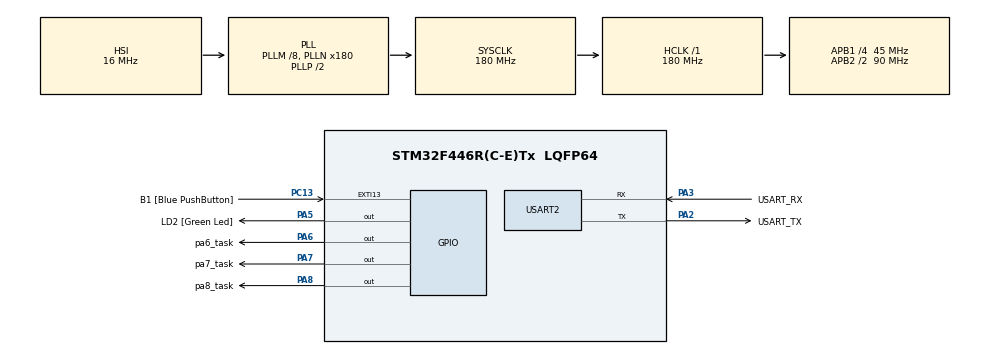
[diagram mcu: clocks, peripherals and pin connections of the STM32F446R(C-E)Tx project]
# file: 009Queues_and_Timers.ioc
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Mcu.Family=STM32F4
Mcu.Name=STM32F446R(C-E)Tx
Mcu.Package=LQFP64
NVIC.PriorityGroup=NVIC_PRIORITYGROUP_4
NVIC.TIM6_DAC_IRQn=true\:0\:0\:false\:false\:true\:false\:true\:true
NVIC.TimeBase=TIM6_DAC_IRQn
NVIC.TimeBaseIP=TIM6
NVIC.USART2_IRQn=true\:6\:0\:true\:false\:true\:true\:true\:true
PA13.GPIO_Label=TMS
PA13.Signal=SYS_JTMS-SWDIO
PA14.GPIO_Label=TCK
PA14.Signal=SYS_JTCK-SWCLK
PA2.GPIO_Label=USART_TX
PA2.Mode=Asynchronous
PA2.Signal=USART2_TX
PA3.GPIO_Label=USART_RX
PA3.Mode=Asynchronous
PA3.Signal=USART2_RX
PA5.GPIO_Label=LD2 [Green Led]
PA5.Signal=GPIO_Output
PA6.GPIO_Label=pa6_task
PA6.Signal=GPIO_Output
PA7.GPIO_Label=pa7_task
PA7.Signal=GPIO_Output
PA8.GPIO_Label=pa8_task
PA8.Signal=GPIO_Output
PB3.GPIO_Label=SWO
PB3.Signal=SYS_JTDO-SWO
PC13.GPIO_Label=B1 [Blue PushButton]
PC13.GPIO_ModeDefaultEXTI=GPIO_MODE_IT_FALLING
PC13.Signal=GPXTI13
PC14-OSC32_IN.Signal=RCC_OSC32_IN
PC15-OSC32_OUT.Signal=RCC_OSC32_OUT
PH0-OSC_IN.Signal=RCC_OSC_IN
PH1-OSC_OUT.Signal=RCC_OSC_OUT
ProjectManager.HeapSize=0x200
ProjectManager.StackSize=0x400
ProjectManager.TargetToolchain=STM32CubeIDE
RCC.AHBFreq_Value=180000000
RCC.APB1CLKDivider=RCC_HCLK_DIV4
RCC.APB1Freq_Value=45000000
RCC.APB1TimFreq_Value=90000000
RCC.APB2CLKDivider=RCC_HCLK_DIV2
RCC.APB2Freq_Value=90000000
RCC.APB2TimFreq_Value=180000000
RCC.CortexFreq_Value=180000000
RCC.FLatency-AdvancedSettings=FLASH_LATENCY_5
RCC.HCLKFreq_Value=180000000
RCC.HSE_VALUE=8000000
RCC.HSI_VALUE=16000000
RCC.LSE_VALUE=32768
RCC.PLLM=8
RCC.PLLN=180
RCC.SYSCLKFreq_VALUE=180000000
RCC.SYSCLKSource=RCC_SYSCLKSOURCE_PLLCLK
RCC.USBFreq_Value=180000000
RCC.VCOOutputFreq_Value=360000000
RTC.HourFormat=RTC_HOURFORMAT_12
USART2.VirtualMode=VM_ASYNC
VP_RTC_VS_RTC_Activate.Mode=RTC_Enabled
VP_SYS_VS_tim6.Mode=TIM6
board=NUCLEO-F446RE

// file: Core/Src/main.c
/* USER CODE BEGIN Header */
/**
  ******************************************************************************
  * @file           : main.c
  * @brief          : Main program body
  ******************************************************************************
  * @attention
  *
  * Copyright (c) 2025 STMicroelectronics.
  * All rights reserved.
  *
  * This software is licensed under terms that can be found in the LICENSE file
  * in the root directory of this software component.
  * If no LICENSE file comes with this software, it is provided AS-IS.
  *
  ******************************************************************************
  */
/* USER CODE END Header */
#include "main.h"

/* USER CODE BEGIN PD */
#define DWT_CTRL_REG 		(*(volatile uint32_t *)0xE0001000)
/* USER CODE END PD */

/* USER CODE BEGIN PM */
#define PRINT_QUE_ITEM_SIZE				4
#define PRINT_QUE_LEN					10

#define CMD_QUE_ITEM_SIZE				4
#define CMD_QUE_LEN						10

/* USER CODE END PM */

RTC_HandleTypeDef hrtc;

UART_HandleTypeDef huart2;

/* USER CODE BEGIN PV */
TaskHandle_t menu_Handle, led_Handle, printTask_Handle, rtc_Handle, commandTask_Handle;
QueueHandle_t  printQue_Handle, commandQue_Handle;
TimerHandle_t  ledEffectTimer_Handle[4];

TimerHandle_t rtc_timer;

state_t current_task_state = sMainMenu;

volatile uint8_t cmd_data;
/* USER CODE END PV */

void SystemClock_Config(void);
static void MX_GPIO_Init(void);
static void MX_RTC_Init(void);
static void MX_USART2_UART_Init(void);
/* USER CODE BEGIN PFP */

void HAL_UART_RxCpltCallback(UART_HandleTypeDef *huart);
extern  void SEGGER_UART_init(uint32_t);

void led_effect_callback(TimerHandle_t  xTimer);
void rtc_report_callback( TimerHandle_t xTimer );
/* USER CODE END PFP */

int main(void)
{

  /* USER CODE BEGIN 1 */
	BaseType_t status;

  /* USER CODE END 1 */

  /* MCU Configuration--------------------------------------------------------*/

  /* Reset of all peripherals, Initializes the Flash interface and the Systick. */
  HAL_Init();

  /* Configure the system clock */
  SystemClock_Config();

  /* Initialize all configured peripherals */
  MX_GPIO_Init();
  MX_RTC_Init();
  MX_USART2_UART_Init();
  /* USER CODE BEGIN 2 */
  //Enable the Data watch
  DWT_CTRL_REG |= (1 << 0);

  /*Enable Segger uart continuous record*/
  //SEGGER_UART_init(500000);

  /* Enable Segger and call */
  //SEGGER_SYSVIEW_Conf();
  //SEGGER_SYSVIEW_Start();

  status = xTaskCreate(menuTask_Handler, "Menu_Task", 200, NULL, 2, &menu_Handle);
  configASSERT(status == pdPASS);

  status = xTaskCreate(ledTask_Handler, "LED_Task", 200, NULL, 2, &led_Handle);
  configASSERT(status == pdPASS);

  status = xTaskCreate(rtcTask_Handler, "RTC_Task", 200, NULL, 2, &rtc_Handle);
  configASSERT(status == pdPASS);

  status = xTaskCreate(printTask_Handler, "Print_Task", 200, NULL, 2, &printTask_Handle);
  configASSERT(status == pdPASS);

  status = xTaskCreate(commandTask_Handler, "RTC_Task", 200, NULL, 2, &commandTask_Handle);
  configASSERT(status == pdPASS);

  /* size_t is pointer size 4 bytes  -> long unsigned int defined in stddef.h*/
  printQue_Handle = xQueueCreate(PRINT_QUE_LEN, sizeof(size_t));
  configASSERT(printQue_Handle != NULL);

  commandQue_Handle = xQueueCreate(CMD_QUE_LEN, sizeof(char));
  configASSERT(commandQue_Handle != NULL);

  /* create software timers for led effect */
  for(int i=0; i<4; i++){
	  ledEffectTimer_Handle[i] = xTimerCreate("led-timer", pdMS_TO_TICKS(500),  pdTRUE, (void *)(i+1), led_effect_callback);
  }
  rtc_timer = xTimerCreate ("rtc_report_timer",pdMS_TO_TICKS(1000),pdTRUE,NULL,rtc_report_callback);

  /* Enable UART2 Rx Interrrupt */
  HAL_UART_Receive_IT(&huart2, (uint8_t *)&cmd_data, 1);

  /* start the freertos scheduler */
  vTaskStartScheduler();

  /* if control comes here means there is not enough heap memory to launch the scheduler */

  /* USER CODE END 2 */

  /* Infinite loop */
  while (1)
  {

  }
}

void SystemClock_Config(void)
{
  RCC_OscInitTypeDef RCC_OscInitStruct = {0};
  RCC_ClkInitTypeDef RCC_ClkInitStruct = {0};

  /** Configure the main internal regulator output voltage
  */
  __HAL_RCC_PWR_CLK_ENABLE();
  __HAL_PWR_VOLTAGESCALING_CONFIG(PWR_REGULATOR_VOLTAGE_SCALE1);

  /** Initializes the RCC Oscillators according to the specified parameters
  * in the RCC_OscInitTypeDef structure.
  */
  RCC_OscInitStruct.OscillatorType = RCC_OSCILLATORTYPE_HSI|RCC_OSCILLATORTYPE_LSI;
  RCC_OscInitStruct.LSEState = RCC_LSE_OFF;
  RCC_OscInitStruct.HSIState = RCC_HSI_ON;
  RCC_OscInitStruct.HSICalibrationValue = RCC_HSICALIBRATION_DEFAULT;
  RCC_OscInitStruct.LSIState = RCC_LSI_ON;
  RCC_OscInitStruct.PLL.PLLState = RCC_PLL_ON;
  RCC_OscInitStruct.PLL.PLLSource = RCC_PLLSOURCE_HSI;
  RCC_OscInitStruct.PLL.PLLM = 8;
  RCC_OscInitStruct.PLL.PLLN = 180;
  RCC_OscInitStruct.PLL.PLLP = RCC_PLLP_DIV2;
  RCC_OscInitStruct.PLL.PLLQ = 2;
  RCC_OscInitStruct.PLL.PLLR = 2;
  if (HAL_RCC_OscConfig(&RCC_OscInitStruct) != HAL_OK)
  {
    Error_Handler();
  }

  /** Activate the Over-Drive mode
  */
  if (HAL_PWREx_EnableOverDrive() != HAL_OK)
  {
    Error_Handler();
  }

  /** Initializes the CPU, AHB and APB buses clocks
  */
  RCC_ClkInitStruct.ClockType = RCC_CLOCKTYPE_HCLK|RCC_CLOCKTYPE_SYSCLK
                              |RCC_CLOCKTYPE_PCLK1|RCC_CLOCKTYPE_PCLK2;
  RCC_ClkInitStruct.SYSCLKSource = RCC_SYSCLKSOURCE_PLLCLK;
  RCC_ClkInitStruct.AHBCLKDivider = RCC_SYSCLK_DIV1;
  RCC_ClkInitStruct.APB1CLKDivider = RCC_HCLK_DIV4;
  RCC_ClkInitStruct.APB2CLKDivider = RCC_HCLK_DIV2;

  if (HAL_RCC_ClockConfig(&RCC_ClkInitStruct, FLASH_LATENCY_5) != HAL_OK)
  {
    Error_Handler();
  }
}

static void MX_RTC_Init(void)
{

  /** Initialize RTC Only
  */
  hrtc.Instance = RTC;
  hrtc.Init.HourFormat = RTC_HOURFORMAT_12;
  hrtc.Init.AsynchPrediv = 127;
  hrtc.Init.SynchPrediv = 255;
  hrtc.Init.OutPut = RTC_OUTPUT_DISABLE;
  hrtc.Init.OutPutPolarity = RTC_OUTPUT_POLARITY_HIGH;
  hrtc.Init.OutPutType = RTC_OUTPUT_TYPE_OPENDRAIN;
  if (HAL_RTC_Init(&hrtc) != HAL_OK)
  {
    Error_Handler();
  }

}

static void MX_USART2_UART_Init(void)
{

  huart2.Instance = USART2;
  huart2.Init.BaudRate = 115200;
  huart2.Init.WordLength = UART_WORDLENGTH_8B;
  huart2.Init.StopBits = UART_STOPBITS_1;
  huart2.Init.Parity = UART_PARITY_NONE;
  huart2.Init.Mode = UART_MODE_TX_RX;
  huart2.Init.HwFlowCtl = UART_HWCONTROL_NONE;
  huart2.Init.OverSampling = UART_OVERSAMPLING_16;
  if (HAL_UART_Init(&huart2) != HAL_OK)
  {
    Error_Handler();
  }

}

static void MX_GPIO_Init(void)
{
  GPIO_InitTypeDef GPIO_InitStruct = {0};
  /* USER CODE BEGIN MX_GPIO_Init_1 */
  //GPIO_InitTypeDef GPIO_InitTask = {0};
  /* USER CODE END MX_GPIO_Init_1 */

  /* GPIO Ports Clock Enable */
  __HAL_RCC_GPIOC_CLK_ENABLE();
  __HAL_RCC_GPIOH_CLK_ENABLE();
  __HAL_RCC_GPIOA_CLK_ENABLE();
  __HAL_RCC_GPIOB_CLK_ENABLE();

  /*Configure GPIO pin Output Level */
  HAL_GPIO_WritePin(GPIOA, LD2_Pin|pa6_task_Pin|pa7_task_Pin|pa8_task_Pin, GPIO_PIN_RESET);

  /*Configure GPIO pin : B1_Pin */
  GPIO_InitStruct.Pin = B1_Pin;
  GPIO_InitStruct.Mode = GPIO_MODE_IT_FALLING;
  GPIO_InitStruct.Pull = GPIO_NOPULL;
  HAL_GPIO_Init(B1_GPIO_Port, &GPIO_InitStruct);

  /*Configure GPIO pins : LD2_Pin pa6_task_Pin pa7_task_Pin pa8_task_Pin */
  GPIO_InitStruct.Pin = LD2_Pin|pa6_task_Pin|pa7_task_Pin|pa8_task_Pin;
  GPIO_InitStruct.Mode = GPIO_MODE_OUTPUT_PP;
  GPIO_InitStruct.Pull = GPIO_NOPULL;
  GPIO_InitStruct.Speed = GPIO_SPEED_FREQ_LOW;
  HAL_GPIO_Init(GPIOA, &GPIO_InitStruct);

  /* USER CODE BEGIN MX_GPIO_Init_2 */
  //GPIO_InitTask.Mode = GPIO_MODE_OUTPUT_PP;
  //GPIO_InitTask.Pin = GPIO_PIN_5 | GPIO_PIN_6 | GPIO_PIN_7;

  //HAL_GPIO_Init(GPIOA, &GPIO_InitTask);

  /* USER CODE END MX_GPIO_Init_2 */
}

/* USER CODE BEGIN 4 */

void rtc_report_callback( TimerHandle_t xTimer )
{
	 show_time_date_itm();

}

void led_effect_callback(TimerHandle_t  xTimer){
	int id;
	 id = ( uint32_t ) pvTimerGetTimerID( xTimer );

	 switch(id)
	 {
	 case 1 :
		 LED_effect1();
		 break;
	 case 2:
		 LED_effect2();
		 break;
	 case 3:
		 LED_effect3();
		 break;
	 case 4:
		 LED_effect4();
	 }

}

/**************************************************************************************************************/
void HAL_UART_RxCpltCallback(UART_HandleTypeDef *huart){

	BaseType_t que_status, send_status, pxHigherPriorityTaskWoken;
	uint8_t dummy;

	pxHigherPriorityTaskWoken = pdFALSE;

	/* is queue full ? */
	que_status = xQueueIsQueueFullFromISR(commandQue_Handle);
	if(que_status == pdFALSE){
		/*Queue is not full */
		/* Enqueue data byte */
		send_status = xQueueSendFromISR(commandQue_Handle, (void *) &cmd_data, NULL);

	}else{
			/*Queue is full */
		/* check, is cmd_data '\n'? */
		if(cmd_data == '\n'){
			/* make sure that last data byte of the queue is '\n' */
			xQueueReceiveFromISR(commandQue_Handle, (void *) &dummy, NULL);
			xQueueSendFromISR(commandQue_Handle, (void *) &cmd_data, NULL);

		}
	}

	/*send notification to command handling task if user_data = '\n' */
	if(cmd_data == '\n'){
		xTaskNotifyFromISR(commandTask_Handle, 0, eNoAction, NULL);
	}

	/* Enable UART data byte reception again in IT mode */
	cmd_data = 0;
	HAL_UART_Receive_IT(&huart2,(uint8_t *) &cmd_data, 1);

}

/* USER CODE END 4 */

void HAL_TIM_PeriodElapsedCallback(TIM_HandleTypeDef *htim)
{
  if (htim->Instance == TIM6)
  {
    HAL_IncTick();
  }
}

void Error_Handler(void)
{
  __disable_irq();
  while (1)
  {
  }
}
